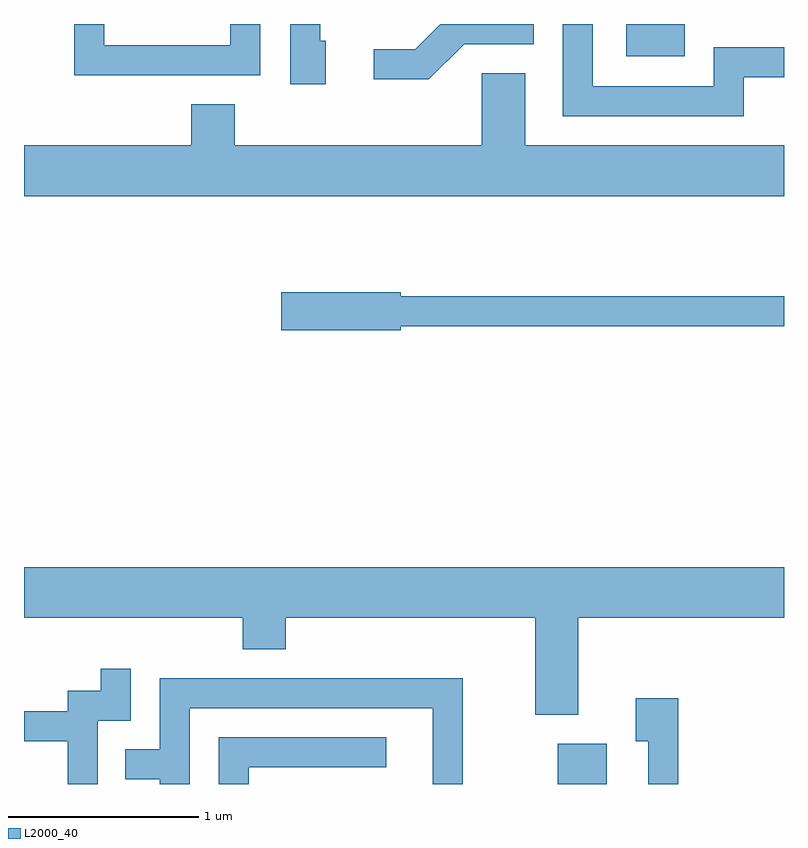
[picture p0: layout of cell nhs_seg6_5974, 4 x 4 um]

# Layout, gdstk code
import gdstk
lib = gdstk.Library(unit=1e-6, precision=1e-09)
def R(c, l, rs):  # rectangles x0, y0, x1, y1
    for r in rs: c.add(gdstk.rectangle(r[:2], r[2:], *l))
def P(c, l, *ps):  # polygons
    for p in ps: c.add(gdstk.Polygon(p, *l))
L2000_40 = (2000, 40)

nhs_seg6_5974 = lib.new_cell('nhs_seg6_5974')
R(nhs_seg6_5974, L2000_40, [(368.421,1660.162,368.679,1660.374), (368.781,1663.991,369.089,1664.162)])
P(nhs_seg6_5974, L2000_40, [(367.927,1664.056),(368.294,1664.056),(368.294,1664.162),(367.802,1664.162),(367.669,1664.029),(367.453,1664.029),(367.453,1663.871),(367.742,1663.871)],
  [(369.399,1663.881),(369.611,1663.881),(369.611,1664.039),(369.241,1664.039),(369.241,1663.834),(368.604,1663.834),(368.604,1664.162),(368.446,1664.162),(368.446,1663.676),(369.399,1663.676)],
  [(367.199,1664.074),(367.169,1664.074),(367.169,1664.162),(367.011,1664.162),(367.011,1663.846),(367.199,1663.846)],
  [(366.854,1664.162),(366.696,1664.162),(366.696,1664.049),(366.034,1664.049),(366.034,1664.162),(365.876,1664.162),(365.876,1663.891),(366.854,1663.891)],
  [(369.611,1663.524),(368.249,1663.524),(368.249,1663.904),(368.021,1663.904),(368.021,1663.524),(366.719,1663.524),(366.719,1663.739),(366.491,1663.739),(366.491,1663.524),(365.611,1663.524),(365.611,1663.256),(369.611,1663.256)],
  [(367.594,1662.571),(369.611,1662.571),(369.611,1662.729),(367.594,1662.729),(367.594,1662.749),(366.966,1662.749),(366.966,1662.551),(367.594,1662.551)],
  [(368.529,1661.036),(369.611,1661.036),(369.611,1661.304),(365.611,1661.304),(365.611,1661.036),(366.761,1661.036),(366.761,1660.871),(366.989,1660.871),(366.989,1661.036),(368.301,1661.036),(368.301,1660.526),(368.529,1660.526)],
  [(365.999,1660.496),(366.174,1660.496),(366.174,1660.768),(366.016,1660.768),(366.016,1660.654),(365.841,1660.654),(365.841,1660.544),(365.611,1660.544),(365.611,1660.386),(365.841,1660.386),(365.841,1660.162),(365.999,1660.162)],
  [(366.484,1660.561),(367.761,1660.561),(367.761,1660.162),(367.919,1660.162),(367.919,1660.719),(366.326,1660.719),(366.326,1660.344),(366.143,1660.344),(366.143,1660.186),(366.326,1660.186),(366.326,1660.162),(366.484,1660.162)],
  [(369.054,1660.614),(368.831,1660.614),(368.831,1660.386),(368.896,1660.386),(368.896,1660.162),(369.054,1660.162)],
  [(366.794,1660.251),(367.518,1660.251),(367.518,1660.409),(366.636,1660.409),(366.636,1660.162),(366.794,1660.162)])

lib.write_gds('nhs_seg6_5974.gds')
